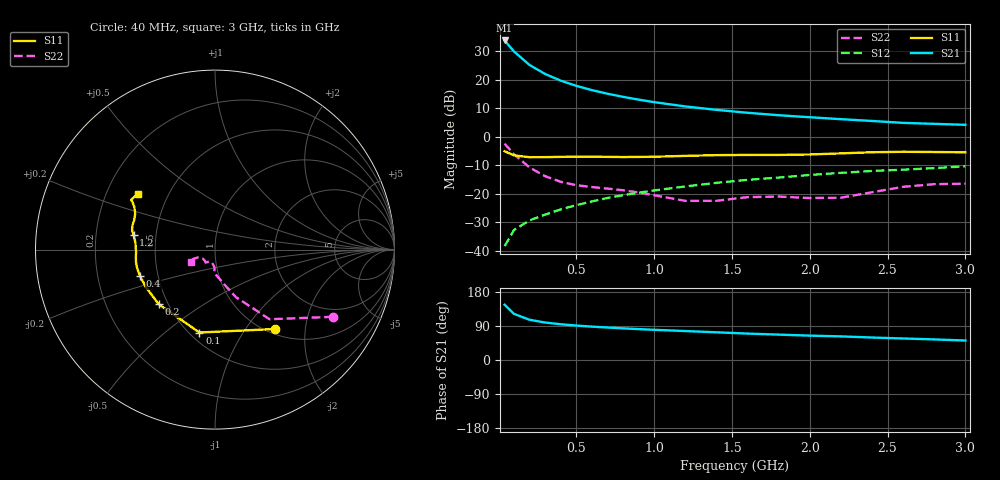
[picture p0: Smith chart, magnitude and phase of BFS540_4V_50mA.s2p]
! Filename:  BFS540F.S2P  Version:  4.0
! Philips part #: BFS540  Date: Jun 1994
! Bias condition: Vce=4V, Ic=50mA
#  MHz  S  MA  R  50
! Freq  S11  S21  S12  S22  !GUM [dB]
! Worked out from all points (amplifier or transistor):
!   21 points, 40 MHz to 3 GHz, reference 50 ohm
!   highest |S21| = 33.8 dB at 40 MHz (marker M1)
!   |S21| within 3 dB of that: start of sweep to 86.7 MHz
!   unconditionally stable (mu >= 1): 482.7 MHz to end of sweep
!   at 300 MHz: K = 0.91, MSG = 24.7 dB, |S12| = -27.3 dB
!   at 1 GHz: K = 1.08, MAG = 13.8 dB, |S12| = -18.9 dB
!   at 3 GHz: K = 1.01, MAG = 6.8 dB, |S12| = -10.4 dB
!   S11 on the Smith chart (normalised r, x): 40 MHz: 1.09, -1.39; 100 MHz: 0.56, -0.66; 200 MHz: 0.45, -0.34; 400 MHz: 0.40, -0.15; 1.2 GHz: 0.37, +0.08; 3 GHz: 0.33, +0.29
40  0.556 -52.7  48.9 146.0  0.012 70.2  0.756 -29.7
100  0.47 -100.6  31.37 121.7  0.023 60.0  0.493 -51.9
200  0.437 -135.7  18.17 106.1  0.034 60.5  0.289 -66.3
300  0.438 -151.4  12.63 99.0  0.043 64.1  0.203 -74.7
400  0.443 -160.5  9.644 94.3  0.053 66.7  0.162 -82.0
500  0.446 -166.2  7.812 90.9  0.063 68.5  0.141 -87.7
600  0.446 -170.6  6.579 88.1  0.073 69.8  0.131 -91.0
700  0.443 -174.5  5.688 85.7  0.084 70.7  0.123 -92.1
800  0.44 -178.1  5.013 83.5  0.094 71.5  0.115 -91.7
900  0.442 178.4  4.48 81.5  0.104 71.8  0.105 -91.7
1000  0.445 175.0  4.045 79.7  0.114 72.1  0.094 -93.0
1200  0.461 169.9  3.402 76.4  0.134 72.6  0.075 -102.6
1400  0.475 166.7  2.964 73.1  0.155 72.7  0.075 -116.9
1600  0.479 163.8  2.631 69.7  0.175 71.7  0.087 -124.6
1800  0.479 160.1  2.385 67.0  0.192 71.5  0.089 -126.5
2000  0.488 155.7  2.196 64.3  0.213 71.0  0.084 -130.7
2200  0.51 151.9  2.032 62.3  0.232 71.0  0.085 -143.9
2400  0.534 149.8  1.89 59.3  0.251 70.3  0.106 -155.5
2600  0.544 149.3  1.749 56.8  0.264 69.0  0.132 -157.0
2800  0.539 147.7  1.683 54.3  0.281 68.4  0.147 -152.8
3000  0.533 144.1  1.617 51.4  0.303 67.5  0.15 -151.7
